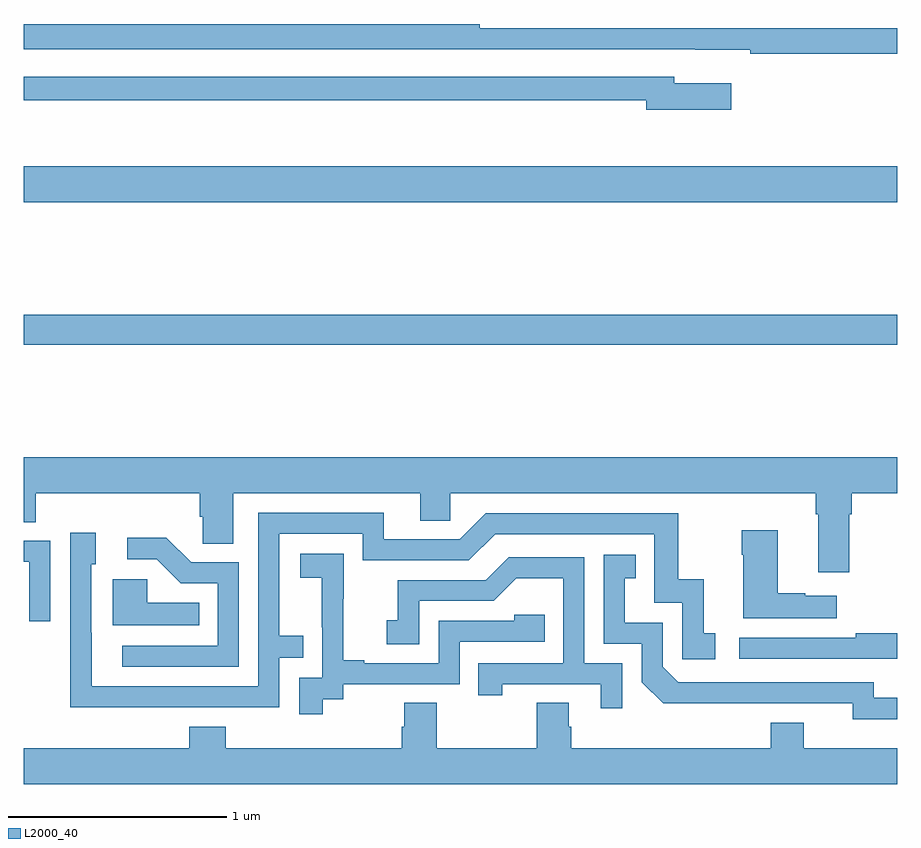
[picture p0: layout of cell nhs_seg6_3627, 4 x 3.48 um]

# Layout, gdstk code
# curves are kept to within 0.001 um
import gdstk
lib = gdstk.Library(unit=1e-6, precision=1e-09)
def R(c, l, rs):  # rectangles x0, y0, x1, y1
    for r in rs: c.add(gdstk.rectangle(r[:2], r[2:], *l))
def P(c, l, *ps):  # polygons
    for p in ps: c.add(gdstk.Polygon(p, *l))
L2000_40 = (2000, 40)

nhs_seg6_3627 = lib.new_cell('nhs_seg6_3627')
R(nhs_seg6_3627, L2000_40, [(323,948.016,327,948.152), (323,948.668,327,948.832)])
P(nhs_seg6_3627, L2000_40, [(327,949.464),(325.088,949.464),(325.088,949.484),(323,949.484),(323,949.368),(326.074,949.368),(326.074,949.367),(326.326,949.367),(326.326,949.348),(327,949.348)],
  [(326.239,949.213),(325.978,949.213),(325.978,949.242),(323,949.242),(323,949.134),(325.85,949.134),(325.85,949.091),(326.239,949.091)],
  [(326.779,947.24),(326.792,947.24),(326.792,947.336),(327,947.336),(327,947.5),(323,947.5),(323,947.203),(323.054,947.203),(323.054,947.336),(323.807,947.336),(323.807,947.227),(323.82,947.227),(323.82,947.104),(323.959,947.104),(323.959,947.336),(324.815,947.336),(324.815,947.209),(324.954,947.209),(324.954,947.336),(326.627,947.336),(326.627,947.24),(326.639,947.24),(326.639,946.974),(326.779,946.974)],
  [(323.675,946.356),(324.171,946.356),(324.171,946.581),(324.281,946.581),(324.281,946.682),(324.171,946.682),(324.171,947.151),(324.552,947.151),(324.552,947.028),(325.038,947.028),(325.158,947.148),(325.887,947.148),(325.887,946.833),(326.016,946.833),(326.016,946.575),(326.167,946.575),(326.167,946.695),(326.114,946.695),(326.114,946.942),(325.996,946.942),(325.996,947.244),(325.116,947.244),(324.996,947.124),(324.649,947.124),(324.649,947.247),(324.075,947.247),(324.075,946.452),(323.311,946.452),(323.31,947.01),(323.329,947.01),(323.329,947.155),(323.214,947.155),(323.214,946.661),(323.212,946.661),(323.212,946.355)],
  [(326.722,946.867),(326.579,946.867),(326.579,946.877),(326.452,946.877),(326.452,947.167),(326.287,947.167),(326.287,947.054),(326.294,947.054),(326.294,946.763),(326.722,946.763)],
  [(323.985,947.019),(323.766,947.019),(323.653,947.132),(323.475,947.132),(323.475,947.034),(323.609,947.034),(323.72,946.923),(323.889,946.923),(323.889,946.638),(323.451,946.638),(323.451,946.542),(323.985,946.542)],
  [(323.121,947.118),(323,947.118),(323,947.022),(323.025,947.022),(323.025,946.749),(323.121,946.749)],
  [(324.37,946.393),(324.462,946.393),(324.462,946.461),(324.996,946.461),(324.996,946.656),(325.385,946.656),(325.385,946.779),(325.245,946.779),(325.245,946.752),(324.9,946.752),(324.9,946.557),(324.559,946.557),(324.559,946.57),(324.464,946.57),(324.464,946.853),(324.465,946.853),(324.465,947.059),(324.267,947.059),(324.267,946.949),(324.365,946.949),(324.365,946.721),(324.366,946.721),(324.366,946.491),(324.261,946.491),(324.261,946.323),(324.37,946.323)],
  [(327,946.398),(326.892,946.398),(326.892,946.47),(325.998,946.47),(325.926,946.542),(325.926,946.743),(325.753,946.743),(325.753,946.947),(325.802,946.947),(325.802,947.053),(325.656,947.053),(325.656,946.647),(325.83,946.647),(325.83,946.47),(325.928,946.373),(326.796,946.374),(326.796,946.301),(327,946.301)],
  [(325.74,946.557),(325.566,946.557),(325.566,947.043),(325.22,947.043),(325.115,946.938),(324.712,946.938),(324.712,946.753),(324.663,946.753),(324.663,946.644),(324.81,946.644),(324.81,946.842),(325.152,946.842),(325.256,946.946),(325.47,946.946),(325.47,946.557),(325.081,946.557),(325.081,946.41),(325.192,946.41),(325.192,946.461),(325.643,946.461),(325.643,946.35),(325.74,946.35)],
  [(323.804,946.834),(323.565,946.834),(323.565,946.942),(323.408,946.942),(323.408,946.73),(323.804,946.73)],
  [(327,946.694),(326.809,946.694),(326.809,946.674),(326.277,946.674),(326.277,946.578),(327,946.578)],
  [(327,946.168),(326.572,946.168),(326.572,946.285),(326.42,946.285),(326.42,946.168),(325.508,946.168),(325.508,946.266),(325.495,946.266),(325.495,946.376),(325.348,946.376),(325.348,946.168),(324.891,946.168),(324.891,946.376),(324.743,946.376),(324.743,946.266),(324.731,946.266),(324.731,946.168),(323.924,946.168),(323.924,946.267),(323.759,946.267),(323.759,946.168),(323,946.168),(323,946.004),(327,946.004)])

lib.write_gds('nhs_seg6_3627.gds')
